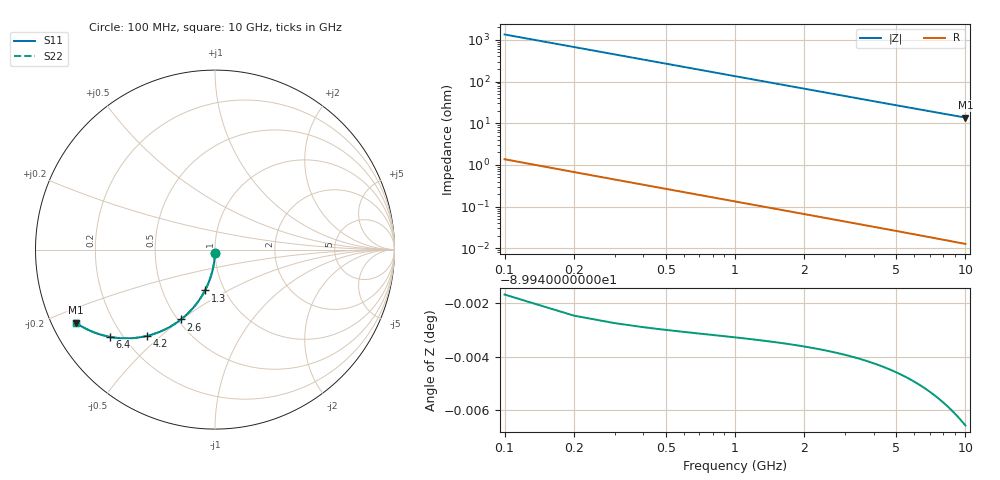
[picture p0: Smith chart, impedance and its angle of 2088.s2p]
# Hz S RI R 50.00
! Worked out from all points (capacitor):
!   100 points, 100 MHz to 10 GHz, reference 50 ohm
!   read as one part in shunt: C = 1.19 pF near 100 MHz
!   lowest |Z| = 13.7 ohm at 10 GHz (marker M1)
!   S11 on the Smith chart (normalised r, x): 100 MHz: 1.00, -0.04; 1.3 GHz: 0.81, -0.39; 2.6 GHz: 0.52, -0.50; 4.2 GHz: 0.29, -0.45; 6.4 GHz: 0.15, -0.35; 10 GHz: 0.07, -0.25
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1e8  -0.000332 -0.0185  0.9996 -0.0187  0.9996 -0.0187  -0.000332 -0.0185
2e8  -0.00139 -0.037  0.9985 -0.0374  0.9985 -0.0374  -0.00139 -0.037
3e8  -0.00313 -0.0554  0.9968 -0.0559  0.9968 -0.0559  -0.00313 -0.0554
4e8  -0.00555 -0.0737  0.9944 -0.0744  0.9944 -0.0744  -0.00555 -0.0737
5e8  -0.00864 -0.0918  0.9913 -0.0927  0.9913 -0.0927  -0.00864 -0.0918
6e8  -0.0124 -0.1097  0.9875 -0.1108  0.9875 -0.1108  -0.0124 -0.1097
7e8  -0.0168 -0.1274  0.9831 -0.1287  0.9831 -0.1287  -0.0168 -0.1274
8e8  -0.0218 -0.1449  0.9781 -0.1464  0.9781 -0.1464  -0.0218 -0.1449
1e9  -0.0336 -0.1789  0.9663 -0.1807  0.9663 -0.1807  -0.0336 -0.1789
1.3e9  -0.0555 -0.2273  0.9445 -0.2296  0.9445 -0.2296  -0.0555 -0.2273
1.5e9  -0.0725 -0.2575  0.9275 -0.2602  0.9275 -0.2602  -0.0725 -0.2575
1.8e9  -0.1011 -0.2993  0.8989 -0.3026  0.8989 -0.3026  -0.1011 -0.2993
2.2e9  -0.1437 -0.3483  0.8562 -0.3524  0.8562 -0.3524  -0.1437 -0.3483
2.6e9  -0.1898 -0.3893  0.8101 -0.3941  0.8101 -0.3941  -0.1898 -0.3893
3.4e9  -0.2858 -0.4482  0.7141 -0.4545  0.7141 -0.4545  -0.2858 -0.4482
4.2e9  -0.379 -0.4808  0.6209 -0.4885  0.6209 -0.4885  -0.379 -0.4808
5.1e9  -0.4734 -0.4941  0.5264 -0.5035  0.5264 -0.5035  -0.4734 -0.4941
6.4e9  -0.5859 -0.4861  0.4139 -0.498  0.4139 -0.498  -0.5859 -0.4861
6.7e9  -0.6079 -0.4815  0.3919 -0.4939  0.3919 -0.4939  -0.6079 -0.4815
7.5e9  -0.6602 -0.4661  0.3396 -0.4801  0.3396 -0.4801  -0.6602 -0.4661
8.4e9  -0.7091 -0.4458  0.2907 -0.4615  0.2907 -0.4615  -0.7091 -0.4458
1e10  -0.7756 -0.4072  0.2242 -0.426  0.2242 -0.426  -0.7756 -0.4072
